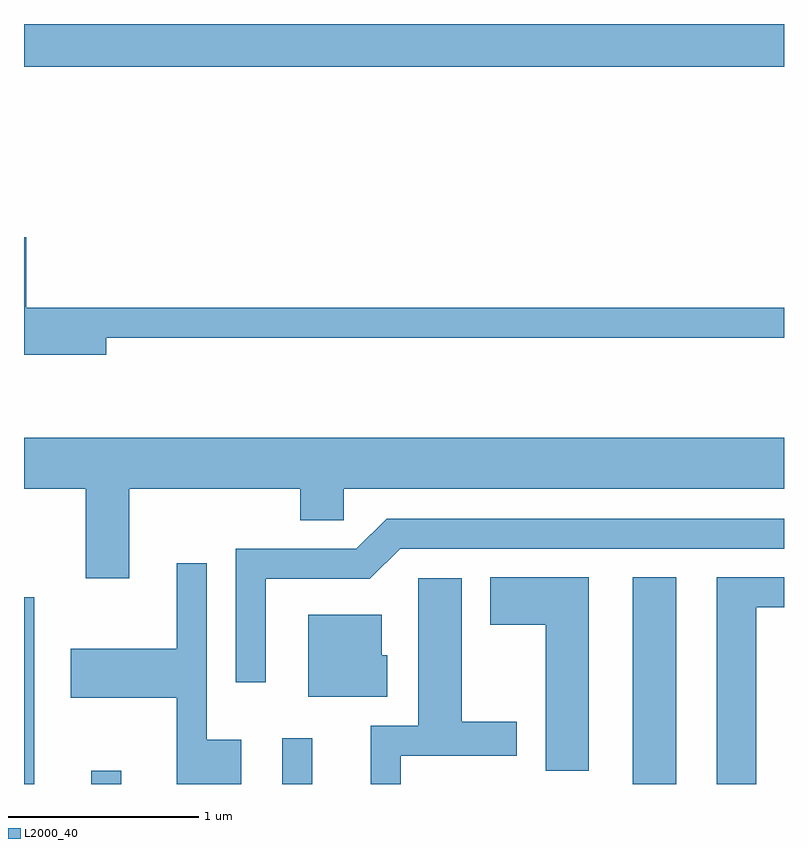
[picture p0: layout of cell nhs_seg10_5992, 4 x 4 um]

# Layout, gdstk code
import gdstk
lib = gdstk.Library(unit=1e-6, precision=1e-09)
def R(c, l, rs):  # rectangles x0, y0, x1, y1
    for r in rs: c.add(gdstk.rectangle(r[:2], r[2:], *l))
def P(c, l, *ps):  # polygons
    for p in ps: c.add(gdstk.Polygon(p, *l))
L2000_40 = (2000, 40)

nhs_seg10_5992 = lib.new_cell('nhs_seg10_5992')
R(nhs_seg10_5992, L2000_40, [(361.611,2174.522,361.664,2175.504), (361.966,2174.522,362.124,2174.593), (362.971,2174.522,363.129,2174.763), (364.816,2174.522,365.044,2175.609), (361.611,2178.296,365.611,2178.522)])
P(nhs_seg10_5992, L2000_40, [(362.044,2176.871),(365.611,2176.871),(365.611,2177.029),(361.624,2177.029),(361.624,2177.399),(361.611,2177.399),(361.611,2176.781),(362.044,2176.781)],
  [(362.164,2176.076),(363.066,2176.076),(363.066,2175.911),(363.294,2175.911),(363.294,2176.076),(365.611,2176.076),(365.611,2176.344),(361.611,2176.344),(361.611,2176.076),(361.936,2176.076),(361.936,2175.606),(362.164,2175.606)],
  [(362.884,2175.601),(363.432,2175.601),(363.592,2175.761),(365.611,2175.761),(365.611,2175.919),(363.519,2175.919),(363.359,2175.759),(362.726,2175.759),(362.726,2175.058),(362.884,2175.058)],
  [(362.754,2174.754),(362.574,2174.754),(362.574,2175.683),(362.416,2175.683),(362.416,2175.234),(361.856,2175.234),(361.856,2174.976),(362.416,2174.976),(362.416,2174.522),(362.754,2174.522)],
  [(364.584,2175.609),(364.066,2175.609),(364.066,2175.361),(364.356,2175.361),(364.356,2174.591),(364.584,2174.591)],
  [(365.464,2175.451),(365.611,2175.451),(365.611,2175.609),(365.256,2175.609),(365.256,2174.522),(365.464,2174.522)],
  [(363.594,2174.671),(364.204,2174.671),(364.204,2174.849),(363.914,2174.849),(363.914,2175.604),(363.686,2175.604),(363.686,2174.829),(363.436,2174.829),(363.436,2174.522),(363.594,2174.522)],
  [(363.524,2175.199),(363.494,2175.199),(363.494,2175.414),(363.106,2175.414),(363.106,2174.981),(363.524,2174.981)])

lib.write_gds('nhs_seg10_5992.gds')
